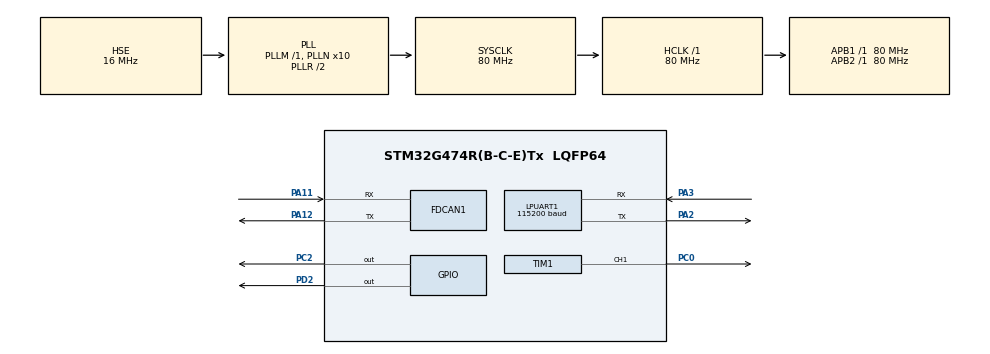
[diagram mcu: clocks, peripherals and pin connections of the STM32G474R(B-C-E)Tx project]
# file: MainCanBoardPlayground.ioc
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FDCAN1.AutoRetransmission=DISABLE
FDCAN1.CalculateBaudRateNominal=1000000
FDCAN1.CalculateTimeBitNominal=1000
FDCAN1.CalculateTimeQuantumNominal=50.0
FDCAN1.DataPrescaler=2
FDCAN1.DataTimeSeg1=15
FDCAN1.DataTimeSeg2=4
FDCAN1.FrameFormat=FDCAN_FRAME_FD_BRS
FDCAN1.NominalPrescaler=4
FDCAN1.NominalTimeSeg1=15
FDCAN1.NominalTimeSeg2=4
FDCAN1.ProtocolException=ENABLE
FDCAN1.StdFiltersNbr=1
LPUART1.BaudRate=115200
Mcu.Family=STM32G4
Mcu.Name=STM32G474R(B-C-E)Tx
Mcu.Package=LQFP64
NVIC.FDCAN1_IT0_IRQn=true\:0\:0\:false\:false\:true\:true\:true\:true
NVIC.PriorityGroup=NVIC_PRIORITYGROUP_4
PA11.Mode=FDCAN_Activate
PA11.Signal=FDCAN1_RX
PA12.Mode=FDCAN_Activate
PA12.Signal=FDCAN1_TX
PA13.Mode=Serial_Wire
PA13.Signal=SYS_JTMS-SWDIO
PA14.Mode=Serial_Wire
PA14.Signal=SYS_JTCK-SWCLK
PA2.Mode=Asynchronous
PA2.Signal=LPUART1_TX
PA3.Mode=Asynchronous
PA3.Signal=LPUART1_RX
PC0.Signal=S_TIM1_CH1
PC2.Signal=GPIO_Output
PD2.Signal=GPIO_Output
PF0-OSC_IN.Mode=HSE-External-Oscillator
PF0-OSC_IN.Signal=RCC_OSC_IN
PF1-OSC_OUT.Mode=HSE-External-Oscillator
PF1-OSC_OUT.Signal=RCC_OSC_OUT
ProjectManager.HeapSize=0x200
ProjectManager.StackSize=0x400
ProjectManager.TargetToolchain=STM32CubeIDE
RCC.ADC12Freq_Value=80000000
RCC.ADC345Freq_Value=80000000
RCC.AHBFreq_Value=80000000
RCC.APB1Freq_Value=80000000
RCC.APB1TimFreq_Value=80000000
RCC.APB2Freq_Value=80000000
RCC.APB2TimFreq_Value=80000000
RCC.CortexFreq_Value=80000000
RCC.EXTERNAL_CLOCK_VALUE=12288000
RCC.HCLKFreq_Value=80000000
RCC.HSE_VALUE=16000000
RCC.HSI48_VALUE=48000000
RCC.HSI_VALUE=16000000
RCC.LSE_VALUE=32768
RCC.PLLN=10
RCC.PLLSourceVirtual=RCC_PLLSOURCE_HSE
RCC.SYSCLKFreq_VALUE=80000000
RCC.SYSCLKSource=RCC_SYSCLKSOURCE_PLLCLK
RCC.USBFreq_Value=80000000
RCC.VCOOutputFreq_Value=160000000
SH.S_TIM1_CH1.0=TIM1_CH1,PWM Generation1 CH1
TIM1.Channel-PWM\ Generation1\ CH1=TIM_CHANNEL_1
TIM1.PeriodNoDither=10000
TIM1.Prescaler=0
TIM1.PulseNoDither_1=0
VP_SYS_VS_DBSignals.Mode=DisableDeadBatterySignals
board=custom

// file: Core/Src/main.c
/* USER CODE BEGIN Header */
/**
  ******************************************************************************
  * @file           : main.c
  * @brief          : Main program body
  ******************************************************************************
  * @attention
  *
  * Copyright (c) 2023 STMicroelectronics.
  * All rights reserved.
  *
  * This software is licensed under terms that can be found in the LICENSE file
  * in the root directory of this software component.
  * If no LICENSE file comes with this software, it is provided AS-IS.
  *
  ******************************************************************************
  */
/* USER CODE END Header */
#include "main.h"

/* USER CODE BEGIN Includes */
#include "stdio.h"
/* USER CODE END Includes */

FDCAN_HandleTypeDef hfdcan1;

UART_HandleTypeDef hlpuart1;

TIM_HandleTypeDef htim1;

/* USER CODE BEGIN PV */
FDCAN_RxHeaderTypeDef RxHeader;

uint8_t RxData[3];
/* USER CODE END PV */

void SystemClock_Config(void);
static void MX_GPIO_Init(void);
static void MX_FDCAN1_Init(void);
static void MX_LPUART1_UART_Init(void);
static void MX_TIM1_Init(void);
/* USER CODE BEGIN PFP */
uint8_t speed = 0;
uint8_t action = 0;
uint8_t dir = 0;
/* USER CODE END PFP */

/* USER CODE BEGIN 0 */
int _write(int file, char *ptr, int len)
{
    HAL_UART_Transmit(&hlpuart1,(uint8_t *)ptr,len,10);
    return len;
}

void HAL_FDCAN_RxFifo0Callback(FDCAN_HandleTypeDef *hfdcan1, uint32_t RxFifo0ITs) {
    if ((RxFifo0ITs & FDCAN_IT_RX_FIFO0_NEW_MESSAGE) != RESET) {
        /* Retrieve Rx messages from RX FIFO0 */
        if (HAL_FDCAN_GetRxMessage(hfdcan1, FDCAN_RX_FIFO0, &RxHeader, RxData) != HAL_OK) {
            Error_Handler();
        }

        if ((RxHeader.Identifier == 0x001)) {
            action = RxData[0];
            dir = RxData[1];
            speed = RxData[2];
        }
    }
}
/* USER CODE END 0 */

int main(void)
{

  /* MCU Configuration--------------------------------------------------------*/

  /* Reset of all peripherals, Initializes the Flash interface and the Systick. */
  HAL_Init();

  /* USER CODE BEGIN Init */
    setbuf(stdout, NULL);
  /* USER CODE END Init */

  /* Configure the system clock */
  SystemClock_Config();

  /* Initialize all configured peripherals */
  MX_GPIO_Init();
  MX_FDCAN1_Init();
  MX_LPUART1_UART_Init();
  MX_TIM1_Init();
  /* USER CODE BEGIN 2 */
    if(HAL_TIM_PWM_Start(&htim1, TIM_CHANNEL_1)!= HAL_OK) {
        Error_Handler();
    }
    FDCAN_FilterTypeDef sFilterConfig;
    sFilterConfig.IdType = FDCAN_STANDARD_ID;
    sFilterConfig.FilterIndex = 0;
    sFilterConfig.FilterType = FDCAN_FILTER_DUAL;
    sFilterConfig.FilterConfig = FDCAN_FILTER_TO_RXFIFO0;
    sFilterConfig.FilterID1 = 0x051;
    sFilterConfig.FilterID2 = 0x001;

    if (HAL_FDCAN_ConfigFilter(&hfdcan1, &sFilterConfig) != HAL_OK) {
        Error_Handler();
    }
    if (HAL_FDCAN_ConfigGlobalFilter(&hfdcan1, FDCAN_REJECT, FDCAN_REJECT, FDCAN_FILTER_REMOTE, FDCAN_FILTER_REMOTE) !=
        HAL_OK) {
        Error_Handler();
    }

    /* Start the FDCAN module */
    if (HAL_FDCAN_Start(&hfdcan1) != HAL_OK) {
        Error_Handler();
    }
    if (HAL_FDCAN_ActivateNotification(&hfdcan1, FDCAN_IT_RX_FIFO0_NEW_MESSAGE, 0) != HAL_OK){
        Error_Handler();
    }

    FDCAN_TxHeaderTypeDef TxHeader;
    uint8_t TxData[64];

    TxHeader.Identifier = 0x1;
    TxHeader.IdType = FDCAN_STANDARD_ID;
    TxHeader.TxFrameType = FDCAN_DATA_FRAME;
    TxHeader.DataLength = FDCAN_DLC_BYTES_64;
    TxHeader.ErrorStateIndicator = FDCAN_ESI_ACTIVE;
    TxHeader.BitRateSwitch = FDCAN_BRS_ON;
    TxHeader.FDFormat = FDCAN_FD_CAN;
    TxHeader.TxEventFifoControl = FDCAN_NO_TX_EVENTS;
    TxHeader.MessageMarker = 0;
  /* USER CODE END 2 */

  /* Infinite loop */
  /* USER CODE BEGIN WHILE */
    int j = 0;
    HAL_GPIO_WritePin(GPIOC, GPIO_PIN_2, RESET);
  while (1)
  {
      HAL_GPIO_TogglePin(GPIOD, GPIO_PIN_2);
      if (!action){
          __HAL_TIM_SET_COMPARE(&htim1, TIM_CHANNEL_1, 0);
      } else {
          if (dir){
              HAL_GPIO_WritePin(GPIOC, GPIO_PIN_2, SET);
          } else {
              HAL_GPIO_WritePin(GPIOC, GPIO_PIN_2, RESET);
          }
          __HAL_TIM_SET_COMPARE(&htim1, TIM_CHANNEL_1, 600 * speed);
      }
      HAL_Delay(10);
    /* USER CODE END WHILE */

  }
}

void SystemClock_Config(void)
{
  RCC_OscInitTypeDef RCC_OscInitStruct = {0};
  RCC_ClkInitTypeDef RCC_ClkInitStruct = {0};

  /** Configure the main internal regulator output voltage
  */
  HAL_PWREx_ControlVoltageScaling(PWR_REGULATOR_VOLTAGE_SCALE1);

  /** Initializes the RCC Oscillators according to the specified parameters
  * in the RCC_OscInitTypeDef structure.
  */
  RCC_OscInitStruct.OscillatorType = RCC_OSCILLATORTYPE_HSE;
  RCC_OscInitStruct.HSEState = RCC_HSE_ON;
  RCC_OscInitStruct.PLL.PLLState = RCC_PLL_ON;
  RCC_OscInitStruct.PLL.PLLSource = RCC_PLLSOURCE_HSE;
  RCC_OscInitStruct.PLL.PLLM = RCC_PLLM_DIV1;
  RCC_OscInitStruct.PLL.PLLN = 10;
  RCC_OscInitStruct.PLL.PLLP = RCC_PLLP_DIV2;
  RCC_OscInitStruct.PLL.PLLQ = RCC_PLLQ_DIV2;
  RCC_OscInitStruct.PLL.PLLR = RCC_PLLR_DIV2;
  if (HAL_RCC_OscConfig(&RCC_OscInitStruct) != HAL_OK)
  {
    Error_Handler();
  }

  /** Initializes the CPU, AHB and APB buses clocks
  */
  RCC_ClkInitStruct.ClockType = RCC_CLOCKTYPE_HCLK|RCC_CLOCKTYPE_SYSCLK
                              |RCC_CLOCKTYPE_PCLK1|RCC_CLOCKTYPE_PCLK2;
  RCC_ClkInitStruct.SYSCLKSource = RCC_SYSCLKSOURCE_PLLCLK;
  RCC_ClkInitStruct.AHBCLKDivider = RCC_SYSCLK_DIV1;
  RCC_ClkInitStruct.APB1CLKDivider = RCC_HCLK_DIV1;
  RCC_ClkInitStruct.APB2CLKDivider = RCC_HCLK_DIV1;

  if (HAL_RCC_ClockConfig(&RCC_ClkInitStruct, FLASH_LATENCY_2) != HAL_OK)
  {
    Error_Handler();
  }
}

static void MX_FDCAN1_Init(void)
{

  hfdcan1.Instance = FDCAN1;
  hfdcan1.Init.ClockDivider = FDCAN_CLOCK_DIV1;
  hfdcan1.Init.FrameFormat = FDCAN_FRAME_FD_BRS;
  hfdcan1.Init.Mode = FDCAN_MODE_NORMAL;
  hfdcan1.Init.AutoRetransmission = DISABLE;
  hfdcan1.Init.TransmitPause = DISABLE;
  hfdcan1.Init.ProtocolException = ENABLE;
  hfdcan1.Init.NominalPrescaler = 4;
  hfdcan1.Init.NominalSyncJumpWidth = 1;
  hfdcan1.Init.NominalTimeSeg1 = 15;
  hfdcan1.Init.NominalTimeSeg2 = 4;
  hfdcan1.Init.DataPrescaler = 2;
  hfdcan1.Init.DataSyncJumpWidth = 1;
  hfdcan1.Init.DataTimeSeg1 = 15;
  hfdcan1.Init.DataTimeSeg2 = 4;
  hfdcan1.Init.StdFiltersNbr = 1;
  hfdcan1.Init.ExtFiltersNbr = 0;
  hfdcan1.Init.TxFifoQueueMode = FDCAN_TX_FIFO_OPERATION;
  if (HAL_FDCAN_Init(&hfdcan1) != HAL_OK)
  {
    Error_Handler();
  }

}

static void MX_LPUART1_UART_Init(void)
{

  hlpuart1.Instance = LPUART1;
  hlpuart1.Init.BaudRate = 115200;
  hlpuart1.Init.WordLength = UART_WORDLENGTH_8B;
  hlpuart1.Init.StopBits = UART_STOPBITS_1;
  hlpuart1.Init.Parity = UART_PARITY_NONE;
  hlpuart1.Init.Mode = UART_MODE_TX_RX;
  hlpuart1.Init.HwFlowCtl = UART_HWCONTROL_NONE;
  hlpuart1.Init.OneBitSampling = UART_ONE_BIT_SAMPLE_DISABLE;
  hlpuart1.Init.ClockPrescaler = UART_PRESCALER_DIV1;
  hlpuart1.AdvancedInit.AdvFeatureInit = UART_ADVFEATURE_NO_INIT;
  if (HAL_UART_Init(&hlpuart1) != HAL_OK)
  {
    Error_Handler();
  }
  if (HAL_UARTEx_SetTxFifoThreshold(&hlpuart1, UART_TXFIFO_THRESHOLD_1_8) != HAL_OK)
  {
    Error_Handler();
  }
  if (HAL_UARTEx_SetRxFifoThreshold(&hlpuart1, UART_RXFIFO_THRESHOLD_1_8) != HAL_OK)
  {
    Error_Handler();
  }
  if (HAL_UARTEx_DisableFifoMode(&hlpuart1) != HAL_OK)
  {
    Error_Handler();
  }

}

static void MX_TIM1_Init(void)
{

  TIM_MasterConfigTypeDef sMasterConfig = {0};
  TIM_OC_InitTypeDef sConfigOC = {0};
  TIM_BreakDeadTimeConfigTypeDef sBreakDeadTimeConfig = {0};

  htim1.Instance = TIM1;
  htim1.Init.Prescaler = 0;
  htim1.Init.CounterMode = TIM_COUNTERMODE_UP;
  htim1.Init.Period = 65535;
  htim1.Init.ClockDivision = TIM_CLOCKDIVISION_DIV1;
  htim1.Init.RepetitionCounter = 0;
  htim1.Init.AutoReloadPreload = TIM_AUTORELOAD_PRELOAD_DISABLE;
  if (HAL_TIM_PWM_Init(&htim1) != HAL_OK)
  {
    Error_Handler();
  }
  sMasterConfig.MasterOutputTrigger = TIM_TRGO_RESET;
  sMasterConfig.MasterOutputTrigger2 = TIM_TRGO2_RESET;
  sMasterConfig.MasterSlaveMode = TIM_MASTERSLAVEMODE_DISABLE;
  if (HAL_TIMEx_MasterConfigSynchronization(&htim1, &sMasterConfig) != HAL_OK)
  {
    Error_Handler();
  }
  sConfigOC.OCMode = TIM_OCMODE_PWM1;
  sConfigOC.Pulse = 10000;
  sConfigOC.OCPolarity = TIM_OCPOLARITY_HIGH;
  sConfigOC.OCNPolarity = TIM_OCNPOLARITY_HIGH;
  sConfigOC.OCFastMode = TIM_OCFAST_DISABLE;
  sConfigOC.OCIdleState = TIM_OCIDLESTATE_RESET;
  sConfigOC.OCNIdleState = TIM_OCNIDLESTATE_RESET;
  if (HAL_TIM_PWM_ConfigChannel(&htim1, &sConfigOC, TIM_CHANNEL_1) != HAL_OK)
  {
    Error_Handler();
  }
  sBreakDeadTimeConfig.OffStateRunMode = TIM_OSSR_DISABLE;
  sBreakDeadTimeConfig.OffStateIDLEMode = TIM_OSSI_DISABLE;
  sBreakDeadTimeConfig.LockLevel = TIM_LOCKLEVEL_OFF;
  sBreakDeadTimeConfig.DeadTime = 0;
  sBreakDeadTimeConfig.BreakState = TIM_BREAK_DISABLE;
  sBreakDeadTimeConfig.BreakPolarity = TIM_BREAKPOLARITY_HIGH;
  sBreakDeadTimeConfig.BreakFilter = 0;
  sBreakDeadTimeConfig.BreakAFMode = TIM_BREAK_AFMODE_INPUT;
  sBreakDeadTimeConfig.Break2State = TIM_BREAK2_DISABLE;
  sBreakDeadTimeConfig.Break2Polarity = TIM_BREAK2POLARITY_HIGH;
  sBreakDeadTimeConfig.Break2Filter = 0;
  sBreakDeadTimeConfig.Break2AFMode = TIM_BREAK_AFMODE_INPUT;
  sBreakDeadTimeConfig.AutomaticOutput = TIM_AUTOMATICOUTPUT_DISABLE;
  if (HAL_TIMEx_ConfigBreakDeadTime(&htim1, &sBreakDeadTimeConfig) != HAL_OK)
  {
    Error_Handler();
  }
  HAL_TIM_MspPostInit(&htim1);

}

static void MX_GPIO_Init(void)
{
  GPIO_InitTypeDef GPIO_InitStruct = {0};

  /* GPIO Ports Clock Enable */
  __HAL_RCC_GPIOF_CLK_ENABLE();
  __HAL_RCC_GPIOC_CLK_ENABLE();
  __HAL_RCC_GPIOA_CLK_ENABLE();
  __HAL_RCC_GPIOD_CLK_ENABLE();

  /*Configure GPIO pin Output Level */
  HAL_GPIO_WritePin(GPIOC, GPIO_PIN_2, GPIO_PIN_RESET);

  /*Configure GPIO pin Output Level */
  HAL_GPIO_WritePin(GPIOD, GPIO_PIN_2, GPIO_PIN_RESET);

  /*Configure GPIO pin : PC2 */
  GPIO_InitStruct.Pin = GPIO_PIN_2;
  GPIO_InitStruct.Mode = GPIO_MODE_OUTPUT_PP;
  GPIO_InitStruct.Pull = GPIO_NOPULL;
  GPIO_InitStruct.Speed = GPIO_SPEED_FREQ_LOW;
  HAL_GPIO_Init(GPIOC, &GPIO_InitStruct);

  /*Configure GPIO pin : PD2 */
  GPIO_InitStruct.Pin = GPIO_PIN_2;
  GPIO_InitStruct.Mode = GPIO_MODE_OUTPUT_PP;
  GPIO_InitStruct.Pull = GPIO_NOPULL;
  GPIO_InitStruct.Speed = GPIO_SPEED_FREQ_LOW;
  HAL_GPIO_Init(GPIOD, &GPIO_InitStruct);

}

void Error_Handler(void)
{
  __disable_irq();
  while (1)
  {
  }
}
